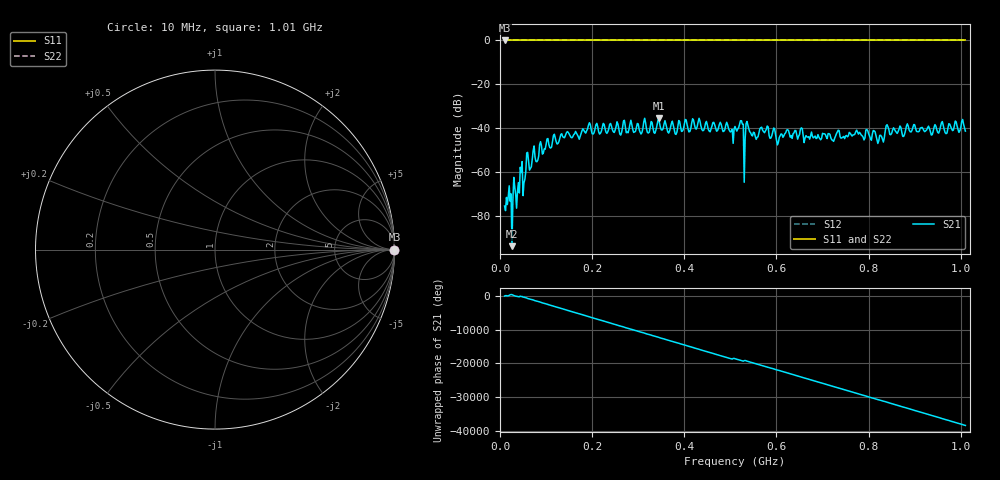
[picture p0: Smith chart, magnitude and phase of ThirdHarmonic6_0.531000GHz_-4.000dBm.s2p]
! 8/15/2025 4:30:46 PM
! C:\ANRITSUVNA\TEMP\TEMP.S2P
! CHANNEL.1
! TR.MEASUREMENT
! RAW.DATA
! RF.CORRECTION.OFF
! AVERAGING.OFF
! IF.BANDWIDTH: 5KHZ
! SWEEPTYPE:  FREQ.SWEEP(Linear)
! Reference Plane Port Info
! PORT:  PORT1  PORT2
! DISTANCE:  0  m  0  m
! TIME:  0  s  0  s
! PHASE.OFFSET:  0  deg.  0  deg.
! LOSS:  0  dB  0  dB
! REF.LOSS:  0  dB  0  dB
! REF.FREQ:  0  Hz  0  Hz
! Power Info
! POWER:  -20  dBm  -20  dBm
! EFF.POWER:  -20  dBm  -20  dBm
! SOURCE.ATTEN:  0  dB  0  dB
! TEST.ATTEN:  0  dB  0  dB
# GHZ S RI R 50.0
! FREQ.GHZ  S11RE  S11IM  S21RE  S21IM  S12RE  S12IM  S22RE  S22IM
!; PortSelection: Port_12
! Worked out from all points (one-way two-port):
!   501 points, 10 MHz to 1.01 GHz, reference 50 ohm
!   highest |S21| = -35.36 dB at 344 MHz (marker M1); lowest = -93.5 dB at 26 MHz (marker M2)
!   lowest |S11| = 0.0 dB at 10 MHz (marker M3)
!   |S11| at or under -10 dB: nowhere
!   |S22| runs from 0.0 to 0.0 dB; largest |S21 - S12| = 1
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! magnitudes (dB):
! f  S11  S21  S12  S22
! 10 MHz  0.0  -75.3  0.0  0.0
! 26 MHz  0.0  -93.5  0.0  0.0
! 38 MHz  0.0  -68.6  0.0  0.0
! 44 MHz  0.0  -57.6  0.0  0.0
! 54 MHz  0.0  -63.1  0.0  0.0
! 60 MHz  0.0  -50.9  0.0  0.0
! 80 MHz  0.0  -55.1  0.0  0.0
! 88 MHz  0.0  -46.0  0.0  0.0
! 178 MHz  0.0  -41.0  0.0  0.0
! 344 MHz  0.0  -35.4  0.0  0.0
! 510 MHz  0.0  -39.1  0.0  0.0
! 524 MHz  0.0  -36.5  0.0  0.0
! 530 MHz  0.0  -64.5  0.0  0.0
! 538 MHz  0.0  -38.5  0.0  0.0
! 556 MHz  0.0  -45.0  0.0  0.0
! 604 MHz  0.0  -46.5  0.0  0.0
! 622 MHz  0.0  -40.8  0.0  0.0
! 678 MHz  0.0  -43.5  0.0  0.0
! 798 MHz  0.0  -41.0  0.0  0.0
! 820 MHz  0.0  -46.8  0.0  0.0
! 844 MHz  0.0  -40.5  0.0  0.0
! 1.01 GHz  0.0  -41.2  0.0  0.0
